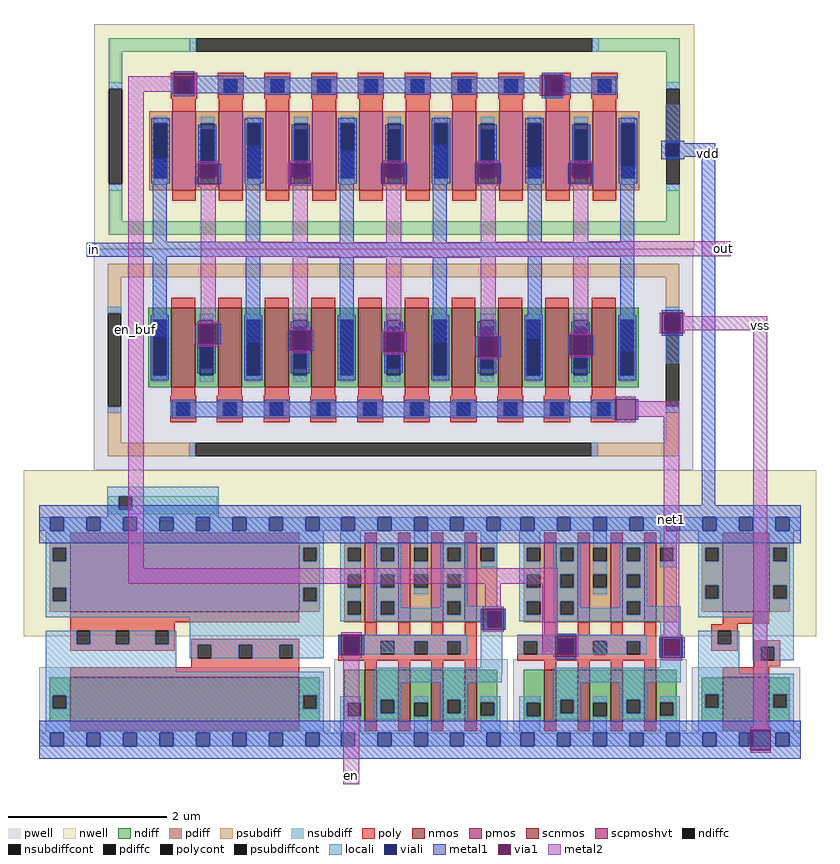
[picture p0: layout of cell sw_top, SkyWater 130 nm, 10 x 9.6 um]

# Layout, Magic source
magic
tech sky130B
magscale 1 2
<< nwell >>
rect -410 -198 1590 -100
rect -410 -202 -237 -198
rect 878 -519 1590 -198
<< nsubdiff >>
rect -199 -166 78 -165
rect -199 -200 -171 -166
rect -137 -200 78 -166
rect -199 -211 78 -200
<< nsubdiffcont >>
rect -171 -200 -137 -166
<< locali >>
rect 1211 726 1245 823
rect 1210 171 1245 252
rect -200 -166 82 -142
rect -200 -200 -171 -166
rect -137 -200 82 -166
rect -200 -229 82 -200
rect 759 -496 761 -456
rect 795 -496 798 -456
rect 397 -521 560 -520
rect 437 -561 560 -521
rect 759 -616 798 -496
rect 978 -564 1074 -525
rect 1207 -628 1246 -567
<< viali >>
rect 1211 692 1245 726
rect 1207 252 1247 292
rect 761 -496 795 -456
rect 397 -561 437 -521
rect 938 -565 978 -525
rect 1206 -567 1246 -527
<< metal1 >>
rect -32 902 20 908
rect -34 852 -32 891
rect 898 898 950 904
rect 20 891 151 896
rect 20 852 898 891
rect -32 844 20 850
rect 950 852 1080 891
rect 898 840 950 846
rect 1199 726 1257 732
rect -85 477 -49 687
rect 23 622 29 674
rect 81 622 87 674
rect 150 477 186 719
rect 262 676 314 682
rect 256 624 262 676
rect 314 624 320 676
rect 262 618 314 624
rect -85 476 186 477
rect 387 476 423 707
rect 492 624 498 676
rect 550 624 556 676
rect 622 476 658 722
rect 1199 692 1211 726
rect 1245 692 1336 726
rect 1199 686 1257 692
rect 730 624 736 676
rect 788 624 794 676
rect 862 476 898 665
rect 964 624 970 676
rect 1022 624 1028 676
rect 1095 476 1131 668
rect -85 475 1131 476
rect -251 439 1131 475
rect -85 237 -49 439
rect 23 218 29 270
rect 81 218 87 270
rect 150 224 186 439
rect 256 202 262 254
rect 314 202 320 254
rect 387 141 423 439
rect 498 250 550 256
rect 492 198 498 250
rect 550 198 556 250
rect 622 224 658 439
rect 498 192 550 198
rect 730 186 736 238
rect 788 186 794 238
rect 862 232 898 439
rect 964 190 970 242
rect 1022 190 1028 242
rect 1095 201 1131 439
rect 1201 298 1253 304
rect 1201 240 1253 246
rect 1077 73 1083 80
rect -36 34 1083 73
rect 1077 28 1083 34
rect 1135 28 1141 80
rect 1302 -202 1336 692
rect 743 -502 749 -450
rect 801 -502 807 -450
rect 385 -567 391 -515
rect 443 -567 449 -515
rect 932 -519 984 -513
rect 932 -577 984 -571
rect 1194 -573 1200 -521
rect 1252 -573 1258 -521
rect 1418 -807 1424 -755
rect 1476 -807 1482 -755
<< via1 >>
rect -32 850 20 902
rect 898 846 950 898
rect 29 622 81 674
rect 262 624 314 676
rect 498 624 550 676
rect 736 624 788 676
rect 970 624 1022 676
rect 29 218 81 270
rect 262 202 314 254
rect 498 198 550 250
rect 736 186 788 238
rect 970 190 1022 242
rect 1201 292 1253 298
rect 1201 252 1207 292
rect 1207 252 1247 292
rect 1247 252 1253 292
rect 1201 246 1253 252
rect 1083 28 1135 80
rect 749 -456 801 -450
rect 749 -496 761 -456
rect 761 -496 795 -456
rect 795 -496 801 -456
rect 749 -502 801 -496
rect 391 -521 443 -515
rect 391 -561 397 -521
rect 397 -561 437 -521
rect 437 -561 443 -521
rect 391 -567 443 -561
rect 932 -525 984 -519
rect 932 -565 938 -525
rect 938 -565 978 -525
rect 978 -565 984 -525
rect 932 -571 984 -565
rect 1200 -527 1252 -521
rect 1200 -567 1206 -527
rect 1206 -567 1246 -527
rect 1246 -567 1252 -527
rect 1200 -573 1252 -567
rect 1424 -807 1476 -755
<< metal2 >>
rect -38 895 -32 902
rect -147 856 -32 895
rect -147 -347 -108 856
rect -38 850 -32 856
rect 20 850 26 902
rect 892 846 898 898
rect 950 846 956 898
rect 29 674 81 680
rect 262 676 314 682
rect 498 676 550 682
rect 256 624 262 676
rect 314 624 320 676
rect 29 616 81 622
rect 262 618 314 624
rect 498 618 550 624
rect 736 676 788 682
rect 736 618 788 624
rect 970 676 1022 682
rect 970 618 1022 624
rect 36 477 74 616
rect 269 477 307 618
rect 36 475 307 477
rect 505 475 543 618
rect 743 477 781 618
rect 977 479 1015 618
rect 977 477 1375 479
rect 743 475 1375 477
rect 36 441 1375 475
rect 36 439 1015 441
rect 36 276 74 439
rect 269 437 781 439
rect 29 270 81 276
rect 269 260 307 437
rect 29 212 81 218
rect 262 254 314 260
rect 505 256 543 437
rect 498 250 550 256
rect 262 196 314 202
rect 492 198 498 250
rect 550 198 556 250
rect 743 244 781 437
rect 977 248 1015 439
rect 736 238 788 244
rect 498 192 550 198
rect 736 180 788 186
rect 970 242 1022 248
rect 1195 246 1201 298
rect 1253 289 1259 298
rect 1253 254 1467 289
rect 1253 246 1259 254
rect 970 184 1022 190
rect 1083 80 1135 86
rect 1135 35 1245 74
rect 1083 22 1135 28
rect 899 -347 938 -346
rect -147 -386 938 -347
rect 755 -444 794 -386
rect 749 -450 801 -444
rect 749 -508 801 -502
rect 391 -515 443 -509
rect 899 -519 938 -386
rect 1206 -515 1245 35
rect 899 -565 932 -519
rect 391 -573 443 -567
rect 926 -571 932 -565
rect 984 -571 990 -519
rect 1200 -521 1252 -515
rect 396 -892 437 -573
rect 1200 -579 1252 -573
rect 1432 -749 1467 254
rect 1424 -755 1476 -749
rect 1424 -813 1476 -807
use sky130_fd_pr__nfet_01v8_JJRV6Y  sky130_fd_pr__nfet_01v8_JJRV6Y_0
transform 1 0 523 0 -1 179
box -757 -279 757 279
use sky130_fd_pr__pfet_01v8_VVAZD4  sky130_fd_pr__pfet_01v8_VVAZD4_0
transform 1 0 525 0 1 743
box -757 -284 757 284
use sky130_fd_sc_hd__decap_3  sky130_fd_sc_hd__decap_3_0
transform 1 0 1275 0 1 -780
box -38 -48 314 592
use sky130_fd_sc_hd__decap_8  sky130_fd_sc_hd__decap_8_0
transform 1 0 -372 0 1 -780
box -38 -48 774 592
use sky130_fd_sc_hd__inv_4  sky130_fd_sc_hd__inv_4_0
transform 1 0 815 0 1 -780
box -38 -48 498 592
use sky130_fd_sc_hd__inv_4  sky130_fd_sc_hd__inv_4_1
transform 1 0 362 0 1 -780
box -38 -48 498 592
<< labels >>
flabel metal2 1337 441 1375 479 0 FreeSans 640 0 0 0 out
port 0 nsew
flabel metal1 -251 439 -215 475 0 FreeSans 640 0 0 0 in
port 4 nsew
flabel metal2 396 -892 437 -851 0 FreeSans 640 0 0 0 en
port 1 nsew
flabel metal1 1302 683 1336 717 0 FreeSans 640 0 0 0 vdd
port 3 nsew
flabel metal2 1432 247 1467 286 0 FreeSans 640 0 0 0 vss
port 2 nsew
flabel metal2 -147 -386 -108 895 0 FreeSans 800 0 0 0 en_buf
flabel metal2 1206 -521 1245 74 0 FreeSans 800 0 0 0 net1
<< end >>

# cell sky130_fd_pr__nfet_01v8_JJRV6Y: kit device sky130_fd_pr__nfet_01v8, w 1 l 0.3 m 1 nf 10 diffcov 80 polycov 80 guard 1 glc 1 grc 1 gtc 1 gbc 1 tbcov 80 rlcov 80 topc 1 botc 0 poverlap 0 doverlap 1 lmin 0.15 wmin 0.42 compatible {sky130_fd_pr__nfet_01v8 sky130_fd_pr__nfet_01v8_lvt sky130_fd_bs_flash__special_sonosfet_star sky130_fd_pr__nfet_g5v0d10v5 sky130_fd_pr__nfet_05v0_nvt sky130_fd_pr__nfet_03v3_nvt} full_metal 0 viasrc 60 viadrn 80 viagate 100 viagb 0 viagr 0 viagl 0 viagt 0

# cell sky130_fd_pr__pfet_01v8_VVAZD4: kit device sky130_fd_pr__pfet_01v8, w 1 l 0.3 m 1 nf 10 diffcov 80 polycov 80 guard 1 glc 1 grc 1 gtc 1 gbc 1 tbcov 80 rlcov 80 topc 1 botc 0 poverlap 0 doverlap 1 lmin 0.15 wmin 0.42 compatible {sky130_fd_pr__pfet_01v8 sky130_fd_pr__pfet_01v8_lvt sky130_fd_pr__pfet_01v8_hvt sky130_fd_pr__pfet_g5v0d10v5} full_metal 0 viasrc 60 viadrn 80 viagate 100 viagb 0 viagr 0 viagl 0 viagt 0

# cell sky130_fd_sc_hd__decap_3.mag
magic
tech sky130B
magscale 1 2
<< nwell >>
rect -38 261 314 582
<< pwell >>
rect 1 21 275 183
rect 29 -17 63 21
<< scnmos >>
rect 79 47 197 157
<< scpmoshvt >>
rect 79 323 197 497
<< ndiff >>
rect 27 114 79 157
rect 27 80 35 114
rect 69 80 79 114
rect 27 47 79 80
rect 197 114 249 157
rect 197 80 207 114
rect 241 80 249 114
rect 197 47 249 80
<< pdiff >>
rect 27 485 79 497
rect 27 451 35 485
rect 69 451 79 485
rect 27 390 79 451
rect 27 356 35 390
rect 69 356 79 390
rect 27 323 79 356
rect 197 485 249 497
rect 197 451 207 485
rect 241 451 249 485
rect 197 390 249 451
rect 197 356 207 390
rect 241 356 249 390
rect 197 323 249 356
<< ndiffc >>
rect 35 80 69 114
rect 207 80 241 114
<< pdiffc >>
rect 35 451 69 485
rect 35 356 69 390
rect 207 451 241 485
rect 207 356 241 390
<< poly >>
rect 79 497 197 523
rect 79 293 197 323
rect 79 291 117 293
rect 51 275 117 291
rect 51 241 67 275
rect 101 241 117 275
rect 51 225 117 241
rect 159 235 225 251
rect 159 201 175 235
rect 209 201 225 235
rect 159 185 225 201
rect 159 183 197 185
rect 79 157 197 183
rect 79 21 197 47
<< polycont >>
rect 67 241 101 275
rect 175 201 209 235
<< locali >>
rect 0 527 29 561
rect 63 527 121 561
rect 155 527 213 561
rect 247 527 276 561
rect 17 485 259 527
rect 17 451 35 485
rect 69 451 207 485
rect 241 451 259 485
rect 17 390 259 451
rect 17 356 35 390
rect 69 356 207 390
rect 241 356 259 390
rect 17 309 259 356
rect 17 241 67 275
rect 101 241 121 275
rect 17 167 121 241
rect 155 235 259 309
rect 155 201 175 235
rect 209 201 259 235
rect 17 114 259 167
rect 17 80 35 114
rect 69 80 207 114
rect 241 80 259 114
rect 17 17 259 80
rect 0 -17 29 17
rect 63 -17 121 17
rect 155 -17 213 17
rect 247 -17 276 17
<< viali >>
rect 29 527 63 561
rect 121 527 155 561
rect 213 527 247 561
rect 29 -17 63 17
rect 121 -17 155 17
rect 213 -17 247 17
<< metal1 >>
rect 0 561 276 592
rect 0 527 29 561
rect 63 527 121 561
rect 155 527 213 561
rect 247 527 276 561
rect 0 496 276 527
rect 0 17 276 48
rect 0 -17 29 17
rect 63 -17 121 17
rect 155 -17 213 17
rect 247 -17 276 17
rect 0 -48 276 -17
<< labels >>
flabel metal1 s 29 527 63 561 0 FreeSans 200 0 0 0 VPWR
port 4 nsew power bidirectional abutment
flabel metal1 s 29 -17 63 17 0 FreeSans 200 0 0 0 VGND
port 1 nsew ground bidirectional abutment
flabel nwell s 29 527 63 561 0 FreeSans 200 0 0 0 VPB
port 3 nsew power bidirectional
flabel pwell s 29 -17 63 17 0 FreeSans 200 0 0 0 VNB
port 2 nsew ground bidirectional
rlabel comment s 0 0 0 0 4 decap_3
rlabel metal1 s 0 -48 276 48 1 VGND
port 1 nsew ground bidirectional abutment
rlabel metal1 s 0 496 276 592 1 VPWR
port 4 nsew power bidirectional abutment
<< properties >>
string FIXED_BBOX 0 0 276 544
string GDS_END 3328194
string GDS_FILE $PDKPATH/libs.ref/sky130_fd_sc_hd/gds/sky130_fd_sc_hd.gds
string GDS_START 3325588
string LEFclass CORE SPACER
string LEFsite unithd
string LEFsymmetry X Y R90
string path 0.000 0.000 6.900 0.000 
<< end >>

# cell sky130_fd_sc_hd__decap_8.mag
magic
tech sky130B
magscale 1 2
<< nwell >>
rect -38 261 774 582
<< pwell >>
rect 1 21 735 183
rect 29 -17 63 21
<< scnmos >>
rect 79 47 657 157
<< scpmoshvt >>
rect 79 323 657 497
<< ndiff >>
rect 27 112 79 157
rect 27 78 35 112
rect 69 78 79 112
rect 27 47 79 78
rect 657 112 709 157
rect 657 78 667 112
rect 701 78 709 112
rect 657 47 709 78
<< pdiff >>
rect 27 485 79 497
rect 27 451 35 485
rect 69 451 79 485
rect 27 383 79 451
rect 27 349 35 383
rect 69 349 79 383
rect 27 323 79 349
rect 657 485 709 497
rect 657 451 667 485
rect 701 451 709 485
rect 657 383 709 451
rect 657 349 667 383
rect 701 349 709 383
rect 657 323 709 349
<< ndiffc >>
rect 35 78 69 112
rect 667 78 701 112
<< pdiffc >>
rect 35 451 69 485
rect 35 349 69 383
rect 667 451 701 485
rect 667 349 701 383
<< poly >>
rect 79 497 657 523
rect 79 297 657 323
rect 79 275 343 297
rect 79 241 95 275
rect 129 241 194 275
rect 228 241 293 275
rect 327 241 343 275
rect 79 225 343 241
rect 385 239 657 255
rect 385 205 401 239
rect 435 205 504 239
rect 538 205 607 239
rect 641 205 657 239
rect 385 183 657 205
rect 79 157 657 183
rect 79 21 657 47
<< polycont >>
rect 95 241 129 275
rect 194 241 228 275
rect 293 241 327 275
rect 401 205 435 239
rect 504 205 538 239
rect 607 205 641 239
<< locali >>
rect 0 527 29 561
rect 63 527 121 561
rect 155 527 213 561
rect 247 527 305 561
rect 339 527 397 561
rect 431 527 489 561
rect 523 527 581 561
rect 615 527 673 561
rect 707 527 736 561
rect 17 485 719 527
rect 17 451 35 485
rect 69 451 667 485
rect 701 451 719 485
rect 17 383 719 451
rect 17 349 35 383
rect 69 349 667 383
rect 701 349 719 383
rect 17 309 719 349
rect 17 241 95 275
rect 129 241 194 275
rect 228 241 293 275
rect 327 241 347 275
rect 17 171 347 241
rect 381 239 719 309
rect 381 205 401 239
rect 435 205 504 239
rect 538 205 607 239
rect 641 205 719 239
rect 17 112 719 171
rect 17 78 35 112
rect 69 78 667 112
rect 701 78 719 112
rect 17 17 719 78
rect 0 -17 29 17
rect 63 -17 121 17
rect 155 -17 213 17
rect 247 -17 305 17
rect 339 -17 397 17
rect 431 -17 489 17
rect 523 -17 581 17
rect 615 -17 673 17
rect 707 -17 736 17
<< viali >>
rect 29 527 63 561
rect 121 527 155 561
rect 213 527 247 561
rect 305 527 339 561
rect 397 527 431 561
rect 489 527 523 561
rect 581 527 615 561
rect 673 527 707 561
rect 29 -17 63 17
rect 121 -17 155 17
rect 213 -17 247 17
rect 305 -17 339 17
rect 397 -17 431 17
rect 489 -17 523 17
rect 581 -17 615 17
rect 673 -17 707 17
<< metal1 >>
rect 0 561 736 592
rect 0 527 29 561
rect 63 527 121 561
rect 155 527 213 561
rect 247 527 305 561
rect 339 527 397 561
rect 431 527 489 561
rect 523 527 581 561
rect 615 527 673 561
rect 707 527 736 561
rect 0 496 736 527
rect 0 17 736 48
rect 0 -17 29 17
rect 63 -17 121 17
rect 155 -17 213 17
rect 247 -17 305 17
rect 339 -17 397 17
rect 431 -17 489 17
rect 523 -17 581 17
rect 615 -17 673 17
rect 707 -17 736 17
rect 0 -48 736 -17
<< labels >>
flabel metal1 s 29 527 63 561 0 FreeSans 200 0 0 0 VPWR
port 4 nsew power bidirectional abutment
flabel metal1 s 29 -17 63 17 0 FreeSans 200 0 0 0 VGND
port 1 nsew ground bidirectional abutment
flabel nwell s 29 527 63 561 0 FreeSans 200 0 0 0 VPB
port 3 nsew power bidirectional
flabel pwell s 29 -17 63 17 0 FreeSans 200 0 0 0 VNB
port 2 nsew ground bidirectional
rlabel comment s 0 0 0 0 4 decap_8
rlabel metal1 s 0 -48 736 48 1 VGND
port 1 nsew ground bidirectional abutment
rlabel metal1 s 0 496 736 592 1 VPWR
port 4 nsew power bidirectional abutment
<< properties >>
string FIXED_BBOX 0 0 736 544
string GDS_END 3319600
string GDS_FILE $PDKPATH/libs.ref/sky130_fd_sc_hd/gds/sky130_fd_sc_hd.gds
string GDS_START 3316130
string LEFclass CORE SPACER
string LEFsite unithd
string LEFsymmetry X Y R90
string path 0.000 0.000 18.400 0.000 
<< end >>

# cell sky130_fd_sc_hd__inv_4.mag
magic
tech sky130B
magscale 1 2
<< nwell >>
rect -38 261 498 582
<< pwell >>
rect 11 21 449 203
rect 29 -17 63 21
<< scnmos >>
rect 89 47 119 177
rect 173 47 203 177
rect 257 47 287 177
rect 341 47 371 177
<< scpmoshvt >>
rect 89 297 119 497
rect 173 297 203 497
rect 257 297 287 497
rect 341 297 371 497
<< ndiff >>
rect 37 93 89 177
rect 37 59 45 93
rect 79 59 89 93
rect 37 47 89 59
rect 119 101 173 177
rect 119 67 129 101
rect 163 67 173 101
rect 119 47 173 67
rect 203 93 257 177
rect 203 59 213 93
rect 247 59 257 93
rect 203 47 257 59
rect 287 101 341 177
rect 287 67 297 101
rect 331 67 341 101
rect 287 47 341 67
rect 371 94 423 177
rect 371 60 381 94
rect 415 60 423 94
rect 371 47 423 60
<< pdiff >>
rect 37 485 89 497
rect 37 451 45 485
rect 79 451 89 485
rect 37 417 89 451
rect 37 383 45 417
rect 79 383 89 417
rect 37 349 89 383
rect 37 315 45 349
rect 79 315 89 349
rect 37 297 89 315
rect 119 485 173 497
rect 119 451 129 485
rect 163 451 173 485
rect 119 417 173 451
rect 119 383 129 417
rect 163 383 173 417
rect 119 349 173 383
rect 119 315 129 349
rect 163 315 173 349
rect 119 297 173 315
rect 203 485 257 497
rect 203 451 213 485
rect 247 451 257 485
rect 203 417 257 451
rect 203 383 213 417
rect 247 383 257 417
rect 203 297 257 383
rect 287 485 341 497
rect 287 451 297 485
rect 331 451 341 485
rect 287 417 341 451
rect 287 383 297 417
rect 331 383 341 417
rect 287 349 341 383
rect 287 315 297 349
rect 331 315 341 349
rect 287 297 341 315
rect 371 485 423 497
rect 371 451 381 485
rect 415 451 423 485
rect 371 297 423 451
<< ndiffc >>
rect 45 59 79 93
rect 129 67 163 101
rect 213 59 247 93
rect 297 67 331 101
rect 381 60 415 94
<< pdiffc >>
rect 45 451 79 485
rect 45 383 79 417
rect 45 315 79 349
rect 129 451 163 485
rect 129 383 163 417
rect 129 315 163 349
rect 213 451 247 485
rect 213 383 247 417
rect 297 451 331 485
rect 297 383 331 417
rect 297 315 331 349
rect 381 451 415 485
<< poly >>
rect 89 497 119 523
rect 173 497 203 523
rect 257 497 287 523
rect 341 497 371 523
rect 89 265 119 297
rect 173 265 203 297
rect 257 265 287 297
rect 341 265 371 297
rect 21 249 371 265
rect 21 215 37 249
rect 71 215 129 249
rect 163 215 213 249
rect 247 215 297 249
rect 331 215 371 249
rect 21 199 371 215
rect 89 177 119 199
rect 173 177 203 199
rect 257 177 287 199
rect 341 177 371 199
rect 89 21 119 47
rect 173 21 203 47
rect 257 21 287 47
rect 341 21 371 47
<< polycont >>
rect 37 215 71 249
rect 129 215 163 249
rect 213 215 247 249
rect 297 215 331 249
<< locali >>
rect 0 527 29 561
rect 63 527 121 561
rect 155 527 213 561
rect 247 527 305 561
rect 339 527 397 561
rect 431 527 460 561
rect 26 485 79 527
rect 26 451 45 485
rect 26 417 79 451
rect 26 383 45 417
rect 26 349 79 383
rect 26 315 45 349
rect 26 299 79 315
rect 113 485 179 493
rect 113 451 129 485
rect 163 451 179 485
rect 113 417 179 451
rect 113 383 129 417
rect 163 383 179 417
rect 113 349 179 383
rect 213 485 247 527
rect 213 417 247 451
rect 213 367 247 383
rect 281 485 347 493
rect 281 451 297 485
rect 331 451 347 485
rect 281 417 347 451
rect 381 485 423 527
rect 415 451 423 485
rect 381 435 423 451
rect 281 383 297 417
rect 331 383 347 417
rect 113 315 129 349
rect 163 333 179 349
rect 281 349 347 383
rect 281 333 297 349
rect 163 315 297 333
rect 331 337 347 349
rect 331 315 434 337
rect 113 299 434 315
rect 21 249 347 265
rect 21 215 37 249
rect 71 215 129 249
rect 163 215 213 249
rect 247 215 297 249
rect 331 215 347 249
rect 381 181 434 299
rect 113 145 434 181
rect 26 93 79 109
rect 26 59 45 93
rect 26 17 79 59
rect 113 101 179 145
rect 113 67 129 101
rect 163 67 179 101
rect 113 51 179 67
rect 213 93 247 109
rect 213 17 247 59
rect 281 101 347 145
rect 281 67 297 101
rect 331 67 347 101
rect 281 51 347 67
rect 381 94 431 110
rect 415 60 431 94
rect 381 17 431 60
rect 0 -17 29 17
rect 63 -17 121 17
rect 155 -17 213 17
rect 247 -17 305 17
rect 339 -17 397 17
rect 431 -17 460 17
<< viali >>
rect 29 527 63 561
rect 121 527 155 561
rect 213 527 247 561
rect 305 527 339 561
rect 397 527 431 561
rect 29 -17 63 17
rect 121 -17 155 17
rect 213 -17 247 17
rect 305 -17 339 17
rect 397 -17 431 17
<< metal1 >>
rect 0 561 460 592
rect 0 527 29 561
rect 63 527 121 561
rect 155 527 213 561
rect 247 527 305 561
rect 339 527 397 561
rect 431 527 460 561
rect 0 496 460 527
rect 0 17 460 48
rect 0 -17 29 17
rect 63 -17 121 17
rect 155 -17 213 17
rect 247 -17 305 17
rect 339 -17 397 17
rect 431 -17 460 17
rect 0 -48 460 -17
<< labels >>
flabel locali s 397 153 431 187 0 FreeSans 340 0 0 0 Y
port 6 nsew signal output
flabel locali s 397 221 431 255 0 FreeSans 340 0 0 0 Y
port 6 nsew signal output
flabel locali s 397 289 431 323 0 FreeSans 340 0 0 0 Y
port 6 nsew signal output
flabel locali s 29 221 63 255 0 FreeSans 340 0 0 0 A
port 1 nsew signal input
flabel locali s 121 221 155 255 0 FreeSans 340 0 0 0 A
port 1 nsew signal input
flabel locali s 213 221 247 255 0 FreeSans 340 0 0 0 A
port 1 nsew signal input
flabel locali s 305 221 339 255 0 FreeSans 340 0 0 0 A
port 1 nsew signal input
flabel nwell s 29 527 63 561 0 FreeSans 200 0 0 0 VPB
port 4 nsew power bidirectional
flabel pwell s 29 -17 63 17 0 FreeSans 200 0 0 0 VNB
port 3 nsew ground bidirectional
flabel metal1 s 29 527 63 561 0 FreeSans 200 0 0 0 VPWR
port 5 nsew power bidirectional abutment
flabel metal1 s 29 -17 63 17 0 FreeSans 200 0 0 0 VGND
port 2 nsew ground bidirectional abutment
rlabel comment s 0 0 0 0 4 inv_4
rlabel metal1 s 0 -48 460 48 1 VGND
port 2 nsew ground bidirectional abutment
rlabel metal1 s 0 496 460 592 1 VPWR
port 5 nsew power bidirectional abutment
<< properties >>
string FIXED_BBOX 0 0 460 544
string GDS_END 2219812
string GDS_FILE $PDKPATH/libs.ref/sky130_fd_sc_hd/gds/sky130_fd_sc_hd.gds
string GDS_START 2214822
string LEFclass CORE
string LEFsite unithd
string LEFsymmetry X Y R90
string path 0.000 0.000 11.500 0.000 
<< end >>
